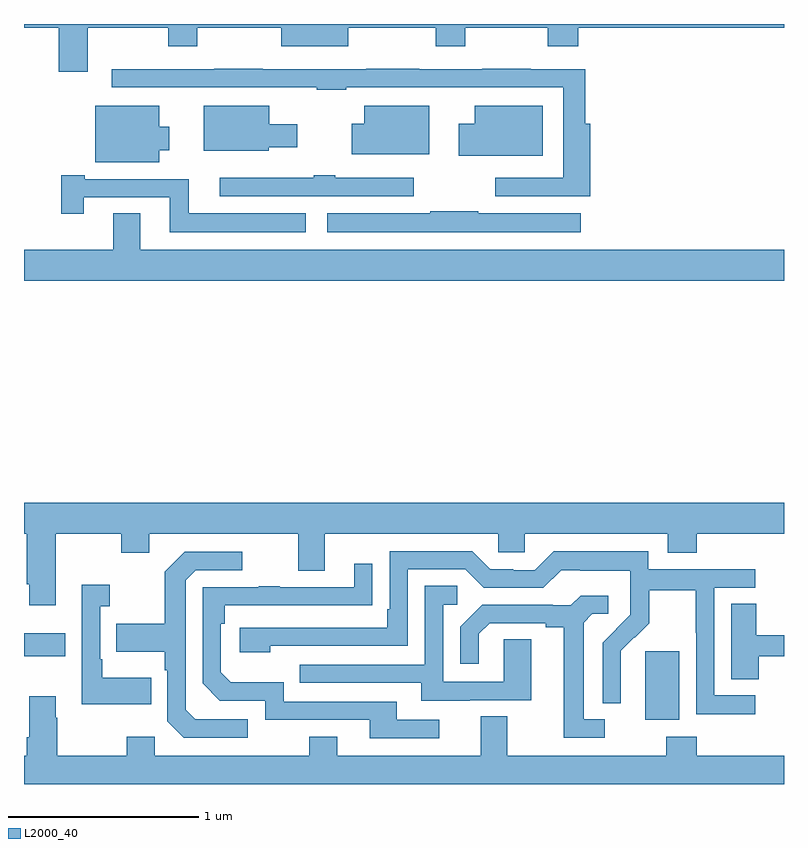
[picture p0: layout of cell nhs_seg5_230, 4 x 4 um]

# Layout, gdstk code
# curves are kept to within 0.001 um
import gdstk
lib = gdstk.Library(unit=1e-6, precision=1e-09)
def R(c, l, rs):  # rectangles x0, y0, x1, y1
    for r in rs: c.add(gdstk.rectangle(r[:2], r[2:], *l))
def P(c, l, *ps):  # polygons
    for p in ps: c.add(gdstk.Polygon(p, *l))
L2000_40 = (2000, 40)

nhs_seg5_230 = lib.new_cell('nhs_seg5_230')
R(nhs_seg5_230, L2000_40, [(128.27,833.138,128.449,833.499), (125,833.471,125.218,833.593)])
P(nhs_seg5_230, L2000_40, [(125.335,836.78),(125.758,836.78),(125.758,836.681),(125.913,836.681),(125.913,836.78),(126.353,836.78),(126.353,836.681),(126.706,836.681),(126.706,836.78),(127.168,836.78),(127.168,836.681),(127.323,836.681),(127.323,836.78),(127.756,836.78),(127.756,836.681),(127.916,836.681),(127.916,836.78),(129,836.78),(129,836.799),(125,836.799),(125,836.78),(125.183,836.78),(125.183,836.547),(125.335,836.547)],
  [(127.979,836.275),(127.955,836.275),(127.955,836.562),(127.667,836.562),(127.667,836.564),(127.411,836.564),(127.411,836.562),(127.079,836.562),(127.079,836.564),(126.802,836.564),(126.802,836.562),(126.257,836.562),(126.257,836.564),(126.001,836.564),(126.001,836.562),(125.463,836.562),(125.463,836.466),(126.388,836.466),(126.388,836.465),(126.542,836.465),(126.542,836.454),(126.695,836.454),(126.695,836.466),(127.839,836.466),(127.839,835.989),(127.479,835.989),(127.479,835.893),(127.979,835.893)],
  [(126.288,836.15),(126.439,836.15),(126.439,836.272),(126.292,836.272),(126.292,836.368),(125.945,836.368),(125.945,836.132),(126.288,836.132)],
  [(127.132,836.368),(126.791,836.368),(126.791,836.275),(126.726,836.275),(126.726,836.114),(127.132,836.114)],
  [(125.713,836.135),(125.764,836.135),(125.764,836.257),(125.713,836.257),(125.713,836.368),(125.375,836.368),(125.375,836.072),(125.713,836.072)],
  [(127.729,836.368),(127.373,836.368),(127.373,836.275),(127.289,836.275),(127.289,836.105),(127.729,836.105)],
  [(126.484,835.804),(125.866,835.804),(125.866,835.983),(125.32,835.983),(125.32,836.003),(125.197,836.003),(125.197,835.8),(125.314,835.8),(125.314,835.887),(125.768,835.887),(125.768,835.703),(126.484,835.703)],
  [(127.051,835.989),(126.638,835.989),(126.638,836.002),(126.526,836.002),(126.526,835.99),(126.03,835.99),(126.03,835.893),(127.051,835.893)],
  [(127.93,835.804),(127.391,835.804),(127.391,835.814),(127.138,835.814),(127.138,835.804),(126.597,835.804),(126.597,835.703),(127.93,835.703)],
  [(129,835.612),(125.611,835.612),(125.611,835.802),(125.471,835.802),(125.471,835.612),(125,835.612),(125,835.448),(129,835.448)],
  [(125.167,834.116),(125.512,834.116),(125.512,834.017),(125.659,834.017),(125.659,834.116),(126.443,834.116),(126.443,833.922),(126.583,833.922),(126.583,834.116),(127.497,834.116),(127.497,834.018),(127.635,834.018),(127.635,834.116),(128.387,834.116),(128.387,834.017),(128.54,834.017),(128.54,834.116),(129,834.116),(129,834.28),(125,834.28),(125,834.116),(125.015,834.116),(125.015,833.851),(125.027,833.851),(125.027,833.739),(125.167,833.739)],
  [(128.848,833.265),(128.634,833.265),(128.634,833.832),(128.848,833.832),(128.848,833.928),(128.286,833.928),(128.286,834.025),(127.789,834.025),(127.689,833.925),(127.574,833.925),(127.574,833.928),(127.455,833.928),(127.359,834.024),(126.924,834.024),(126.924,833.719),(126.911,833.719),(126.911,833.622),(126.135,833.622),(126.135,833.492),(126.296,833.492),(126.296,833.526),(127.02,833.526),(127.02,833.928),(127.323,833.928),(127.419,833.832),(127.734,833.832),(127.827,833.925),(127.927,833.925),(127.927,833.921),(128.19,833.921),(128.19,833.787),(128.192,833.787),(128.192,833.69),(128.046,833.542),(128.046,833.224),(128.142,833.224),(128.141,833.501),(128.211,833.571),(128.214,833.568),(128.291,833.645),(128.291,833.82),(128.536,833.82),(128.536,833.596),(128.538,833.596),(128.538,833.167),(128.848,833.167)],
  [(126.178,833.139),(125.901,833.139),(125.85,833.19),(125.85,833.871),(125.904,833.925),(126.148,833.925),(126.148,834.021),(125.847,834.021),(125.742,833.915),(125.742,833.643),(125.485,833.643),(125.485,833.495),(125.742,833.495),(125.742,833.399),(125.754,833.399),(125.754,833.13),(125.841,833.043),(126.178,833.043)],
  [(127.186,833.136),(126.961,833.136),(126.961,833.232),(126.366,833.232),(126.366,833.335),(126.089,833.335),(126.036,833.388),(126.036,833.642),(126.056,833.642),(126.056,833.739),(126.833,833.74),(126.833,833.959),(126.737,833.959),(126.737,833.835),(126.347,833.835),(126.347,833.84),(126.235,833.84),(126.235,833.835),(125.94,833.835),(125.94,833.328),(126.03,833.238),(126.27,833.238),(126.27,833.136),(126.821,833.136),(126.821,833.04),(127.186,833.04)],
  [(125.669,833.359),(125.413,833.359),(125.413,833.455),(125.4,833.455),(125.4,833.735),(125.452,833.735),(125.452,833.848),(125.304,833.848),(125.304,833.219),(125.669,833.219)],
  [(127.345,833.241),(127.669,833.241),(127.669,833.561),(127.524,833.561),(127.524,833.337),(127.206,833.337),(127.206,833.742),(127.279,833.742),(127.279,833.843),(127.11,833.843),(127.11,833.427),(126.451,833.427),(126.451,833.331),(127.091,833.331),(127.091,833.237),(127.345,833.237)],
  [(128.056,833.139),(127.945,833.139),(127.945,833.647),(127.992,833.694),(128.074,833.694),(128.074,833.791),(127.93,833.791),(127.878,833.739),(127.784,833.739),(127.784,833.742),(127.412,833.742),(127.296,833.626),(127.296,833.433),(127.393,833.433),(127.393,833.589),(127.45,833.646),(127.745,833.646),(127.745,833.624),(127.841,833.624),(127.841,833.043),(128.056,833.043)],
  [(128.867,833.472),(129,833.472),(129,833.581),(128.854,833.581),(128.854,833.747),(128.723,833.747),(128.723,833.35),(128.867,833.35)],
  [(129,832.948),(128.54,832.948),(128.54,833.047),(128.38,833.047),(128.38,832.948),(127.543,832.948),(127.543,833.156),(127.403,833.156),(127.403,832.948),(126.649,832.948),(126.649,833.047),(126.502,833.047),(126.502,832.948),(125.688,832.948),(125.688,833.047),(125.542,833.047),(125.542,832.948),(125.175,832.948),(125.175,833.147),(125.167,833.147),(125.167,833.26),(125.027,833.26),(125.027,833.044),(125.015,833.044),(125.015,832.948),(125,832.948),(125,832.799),(129,832.799)])

lib.write_gds('nhs_seg5_230.gds')
